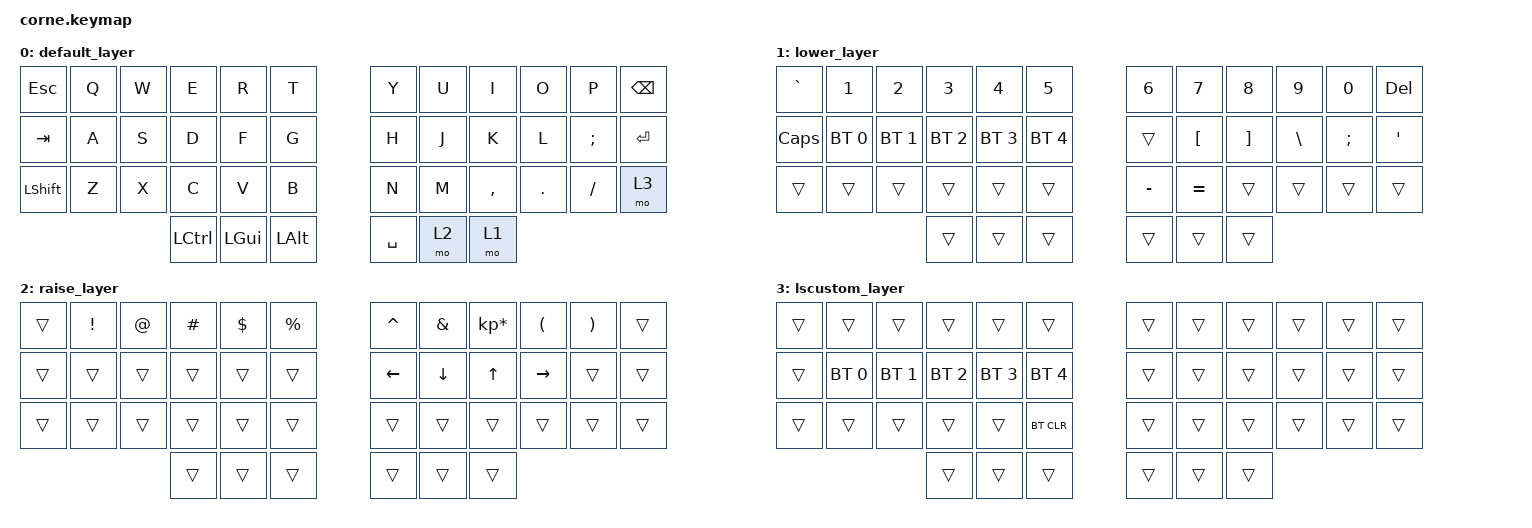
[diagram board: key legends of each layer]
/*
 * Copyright (c) 2020 The ZMK Contributors
 *
 * SPDX-License-Identifier: MIT
 */

#include <behaviors.dtsi>
#include <dt-bindings/zmk/keys.h>
#include <dt-bindings/zmk/bt.h>

#define DEFAULT  0
#define LOWER    1
#define RAISE    2
#define LSCUSTOM 3

/ {
        keymap {
                compatible = "zmk,keymap";

                default_layer {
// -----------------------------------------------------------------------------------------
// | ESC  |  Q  |  W  |  E  |  R  |  T    |              |  Y  |  U   |  I  |  O  |  P  | BKSP |
// | TAB  |  A  |  S  |  D  |  F  |  G    |              |  H  |  J   |  K  |  L  |  ;  | ENT  |
// | SHFT |  Z  |  X  |  C  |  V  |  B    |              |  N  |  M   |  ,  |  .  |  /  | LSCU |
//                    | CTRL| GUI |  ALT  |              | SPC | RSE  | LWR |
                        bindings = <
   &kp ESC    &kp Q  &kp W  &kp E      &kp R     &kp T           &kp Y      &kp U  &kp I      &kp O    &kp P     &kp BSPC
   &kp TAB    &kp A  &kp S  &kp D      &kp F     &kp G           &kp H      &kp J  &kp K      &kp L    &kp SEMI  &kp RET
   &kp LSHFT  &kp Z  &kp X  &kp C      &kp V     &kp B           &kp N      &kp M  &kp COMMA  &kp DOT  &kp FSLH  &mo 3
                            &kp LCTRL  &kp LGUI  &kp LALT        &kp SPACE  &mo 2  &mo 1
                        >;
                };

                lower_layer {
// -----------------------------------------------------------------------------------------
// |  `   |  1  |  2  |  3  |  4  |  5    |              |  6  |  7  |  8  |  9  |  0  | DEL  |
// | CAPS | BT1 | BT2 | BT3 | BT4 |  BT5  |              |     |  [  |  ]  |  \  |  ;  |  '   |
// |      |     |     |     |     |       |              |  -  |  =  |     |     |     |      |
//                    |     |     |       |              |     |     |     |
                        bindings = <
   &kp GRAVE  &kp N1        &kp N2        &kp N3        &kp N4        &kp N5              &kp N6     &kp N7     &kp N8    &kp N9    &kp N0    &kp DEL
   &kp CAPS   &bt BT_SEL 0  &bt BT_SEL 1  &bt BT_SEL 2  &bt BT_SEL 3  &bt BT_SEL 4        &trans     &kp LBKT   &kp RBKT  &kp BSLH  &kp SEMI  &kp SQT
   &trans     &trans        &trans        &trans        &trans        &trans              &kp MINUS  &kp EQUAL  &trans    &trans    &trans    &trans
                          	          &trans        &trans        &trans              &trans     &trans     &trans
                        >;
                };

                raise_layer {
// -----------------------------------------------------------------------------------------
// |      |  !  |  @  |  #  |  $  |   %   |              |  ^  |  &  |  *  |  (  |  )  |      |
// |      |     |     |     |     |       |              | LFT | DWN |  UP | RGT |     |      |
// |      |     |     |     |     |       |              |     |     |     |     |     |      |
//                    |     |     |       |              |     |     |     |
                        bindings = <
   &trans  &kp EXCL  &kp AT  &kp HASH  &kp DLLR  &kp PRCNT        &kp CARET  &kp AMPS  &kp KP_MULTIPLY  &kp LPAR   &kp RPAR  &trans
   &trans  &trans    &trans  &trans    &trans    &trans           &kp LEFT   &kp DOWN  &kp UP           &kp RIGHT  &trans    &trans
   &trans  &trans    &trans  &trans    &trans    &trans           &trans     &trans    &trans           &trans     &trans    &trans
                             &trans    &trans    &trans           &trans     &trans    &trans
                        >;
                };

                lscustom_layer {
// -----------------------------------------------------------------------------------------
// |      |     |     |     |     |       |              |     |     |     |     |     |      |
// |      | BT1 | BT2 | BT3 | BT4 | BT5   |              |     |     |     |     |     |      |
// |      |     |     |     |     | BTCLR |              |     |     |     |     |     |      |
//                    |     |     |       |              |     |     |     |
                        bindings = <
   &trans  &trans        &trans        &trans        &trans        &trans                 &trans  &trans  &trans  &trans  &trans  &trans
   &trans  &bt BT_SEL 0  &bt BT_SEL 1  &bt BT_SEL 2  &bt BT_SEL 3  &bt BT_SEL 4           &trans  &trans  &trans  &trans  &trans  &trans
   &trans  &trans        &trans        &trans        &trans        &bt BT_CLR             &trans  &trans  &trans  &trans  &trans  &trans
                                       &trans        &trans        &trans                 &trans  &trans  &trans
                        >;
                };

        };
};
